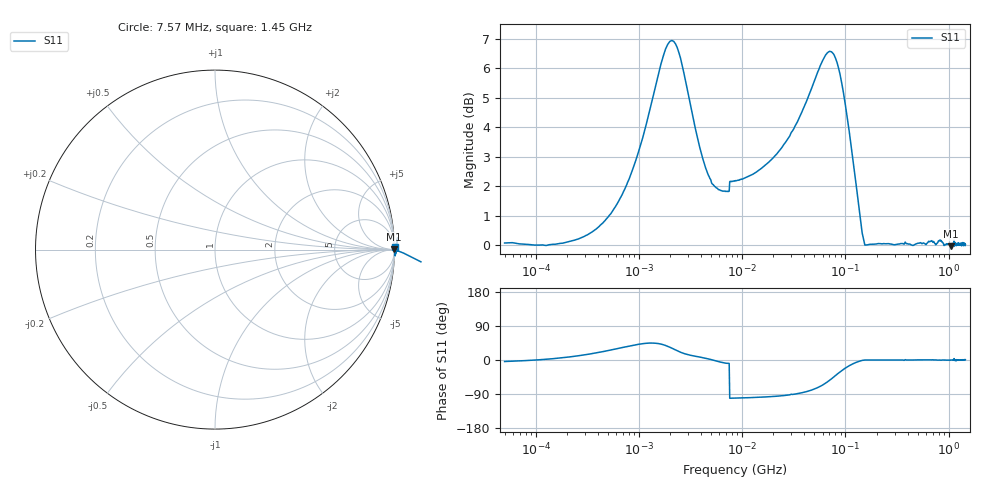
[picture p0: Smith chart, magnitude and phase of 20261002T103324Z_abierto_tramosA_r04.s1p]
! piloto_saltos / abierto_tramosA / r04
# HZ S RI R 50
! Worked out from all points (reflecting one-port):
!   501 points, 50 kHz to 1.45 GHz, reference 50 ohm
!   lowest |S11| = 0.0 dB at 1.054 GHz (marker M1), VSWR 523.68, Z = 2.26e+04 + j9.03e+03 ohm
!   phase of S11 starts at -4 deg and turns +5 deg over the sweep
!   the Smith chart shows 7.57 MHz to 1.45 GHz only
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50000  1.006 -0.0703
183000  1.002 0.1059
373000  1.008 0.3298
658000  1.022 0.6313
1180000  1.153 1.117
1630000  1.505 1.356
1990000  1.842 1.229
2440000  1.961 0.8019
3160000  1.684 0.3717
4420000  1.348 0.1089
7300000  1.218 -0.1922
7750000  -0.2419 -1.259
8560000  -0.2339 -1.265
1.81e7  -0.1685 -1.373
3.16e7  -0.0122 -1.575
4.69e7  0.3385 -1.812
5.68e7  0.6977 -1.887
6.49e7  1.046 -1.828
7.39e7  1.4 -1.597
8.65e7  1.651 -1.099
9.82e7  1.626 -0.6732
1e8  1.609 -0.6206
1.18e8  1.376 -0.2447
1.36e8  1.147 -0.0681
1.63e8  1.001 -0.000221
4.06e8  1.004 0.0011
1.054e9  0.9962 0.00152
1.45e9  1.003 0.0141
